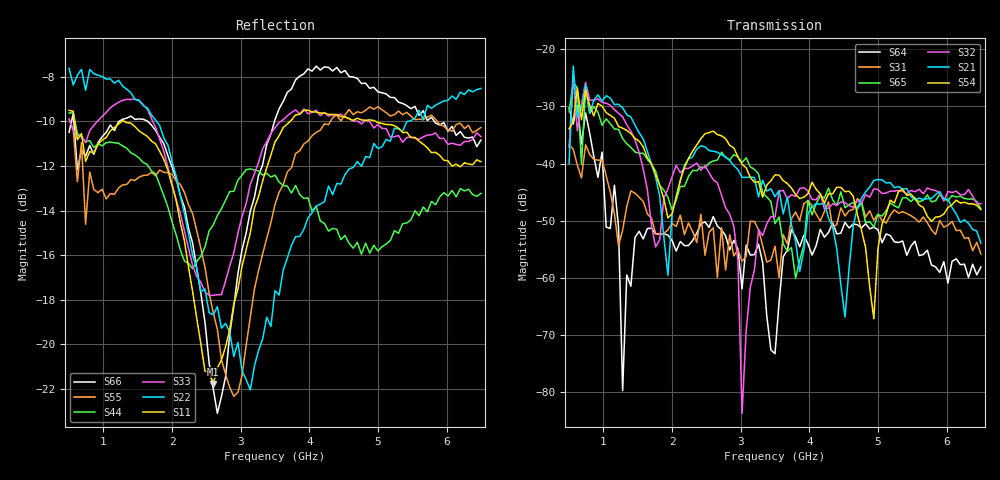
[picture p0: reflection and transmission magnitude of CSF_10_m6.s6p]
!Keysight Technologies,M9804A,MY58100912,A.14.10.03
!Date: Thursday, April 27, 2023 10:28:33
!Correction: S11(C  6-Port  )
!S12(C  6-Port  )
!S13(C  6-Port  )
!S14(C  6-Port  )
!S15(C  6-Port  )
!S16(C  6-Port  )
!S21(C  6-Port  )
!S22(C  6-Port  )
!S23(C  6-Port  )
!S24(C  6-Port  )
!S25(C  6-Port  )
!S26(C  6-Port  )
!S31(C  6-Port  )
!S32(C  6-Port  )
!S33(C  6-Port  )
!S34(C  6-Port  )
!S35(C  6-Port  )
!S36(C  6-Port  )
!S41(C  6-Port  )
!S42(C  6-Port  )
!S43(C  6-Port  )
!S44(C  6-Port  )
!S45(C  6-Port  )
!S46(C  6-Port  )
!S51(C  6-Port  )
!S52(C  6-Port  )
!S53(C  6-Port  )
!S54(C  6-Port  )
!S55(C  6-Port  )
!S56(C  6-Port  )
!S61(C  6-Port  )
!S62(C  6-Port  )
!S63(C  6-Port  )
!S64(C  6-Port  )
!S65(C  6-Port  )
!S66(C  6-Port  )
!S6P File: Measurement: :
# Hz S  RI  R 50
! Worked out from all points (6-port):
!   101 points, 500 MHz to 6.5 GHz, reference 50 ohm
!   strongest paths, dB at 500 MHz, 2 GHz, 3.5 GHz, 5 GHz, 6.5 GHz:
!     S54: -33.9, -48.8, -42.0, -54.9, -48.0
!     S21: -40.0, -48.9, -45.8, -42.8, -53.9
!     S32: -37.2, -42.3, -49.3, -44.6, -47.0
!     S65: -30.9, -48.1, -50.5, -48.9, -47.9
!     S31: -36.6, -50.5, -54.4, -48.8, -55.8
!     S64: -30.3, -53.4, -73.2, -51.6, -58.1
!   lowest |S11| = -21.8 dB at 2.6 GHz (marker M1), VSWR 1.18, Z = 42.7 + j1.95 ohm
!   |S11| at or under -10 dB: 581.1 MHz to 1.266 GHz (684.4 MHz wide, 74.1 % of centre); 1.305 GHz to 3.719 GHz (2.414 GHz wide, 96.1 % of centre); 4.967 GHz to end of sweep
